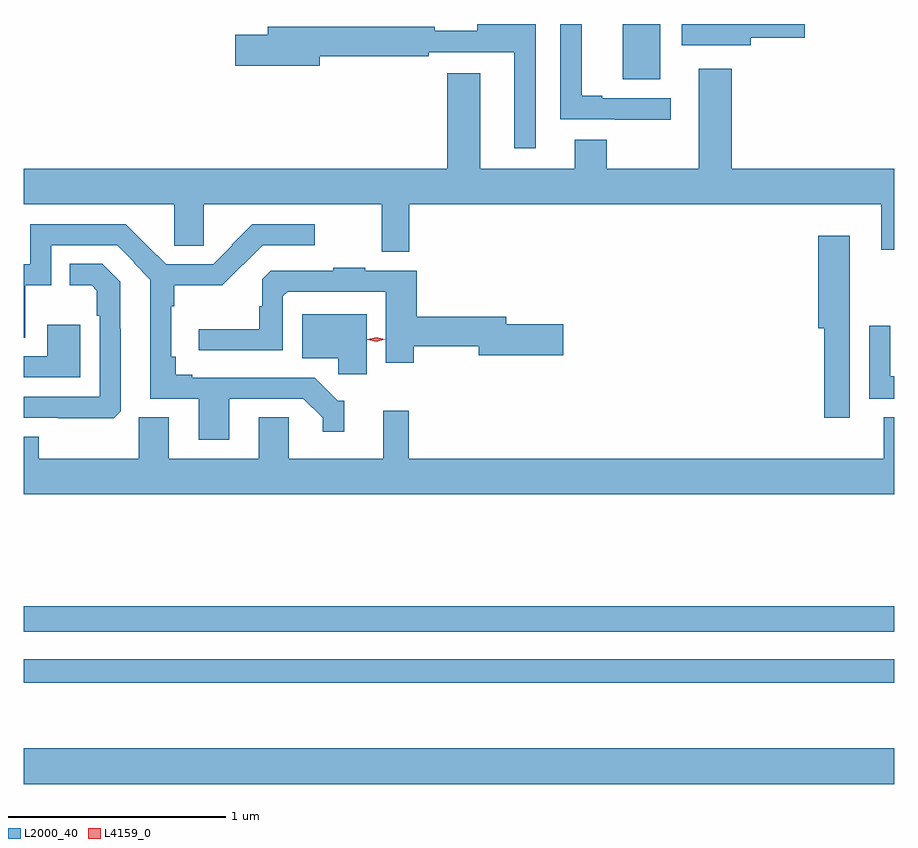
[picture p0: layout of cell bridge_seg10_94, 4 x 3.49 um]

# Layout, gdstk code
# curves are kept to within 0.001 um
import gdstk
lib = gdstk.Library(unit=1e-6, precision=1e-09)
def R(c, l, rs):  # rectangles x0, y0, x1, y1
    for r in rs: c.add(gdstk.rectangle(r[:2], r[2:], *l))
def P(c, l, *ps):  # polygons
    for p in ps: c.add(gdstk.Polygon(p, *l))
L2000_40 = (2000, 40)
L4159_0 = (4159, 0)

bridge_seg10_94 = lib.new_cell('bridge_seg10_94')
R(bridge_seg10_94, L2000_40, [(528.888,1279.004,532.888,1279.168), (528.888,1279.47,532.888,1279.578), (528.888,1279.704,532.888,1279.82), (531.641,1282.244,531.814,1282.497)])
P(bridge_seg10_94, L2000_40, [(532.228,1282.433),(532.477,1282.433),(532.477,1282.497),(531.911,1282.497),(531.911,1282.4),(532.228,1282.4)],
  [(531.24,1282.497),(530.972,1282.497),(530.972,1282.467),(530.776,1282.467),(530.776,1282.484),(530.009,1282.484),(530.009,1282.448),(529.86,1282.448),(529.86,1282.306),(530.248,1282.306),(530.248,1282.348),(530.75,1282.348),(530.75,1282.368),(531.143,1282.368),(531.143,1281.927),(531.24,1281.927)],
  [(531.862,1282.155),(531.547,1282.155),(531.547,1282.168),(531.452,1282.168),(531.452,1282.497),(531.354,1282.497),(531.354,1282.059),(531.603,1282.059),(531.603,1282.057),(531.862,1282.057)],
  [(530.66,1281.668),(532.829,1281.668),(532.829,1281.46),(532.888,1281.46),(532.888,1281.832),(532.142,1281.832),(532.142,1282.291),(531.989,1282.291),(531.989,1281.832),(531.567,1281.832),(531.567,1281.964),(531.419,1281.964),(531.419,1281.832),(530.986,1281.832),(530.986,1282.27),(530.834,1282.27),(530.834,1281.832),(528.888,1281.832),(528.888,1281.668),(529.579,1281.668),(529.579,1281.478),(529.716,1281.478),(529.716,1281.668),(530.532,1281.668),(530.532,1281.45),(530.66,1281.45)],
  [(529.831,1280.775),(530.173,1280.775),(530.261,1280.687),(530.261,1280.622),(530.36,1280.622),(530.36,1280.766),(530.331,1280.766),(530.226,1280.871),(529.663,1280.871),(529.663,1280.884),(529.586,1280.884),(529.586,1280.968),(529.566,1280.968),(529.566,1281.2),(529.579,1281.2),(529.579,1281.296),(529.801,1281.296),(529.986,1281.48),(530.224,1281.48),(530.224,1281.576),(529.937,1281.576),(529.843,1281.482),(529.845,1281.48),(529.758,1281.393),(529.542,1281.393),(529.357,1281.576),(528.918,1281.576),(528.918,1281.393),(528.888,1281.393),(528.888,1281.055),(528.895,1281.055),(528.895,1281.296),(529.014,1281.296),(529.014,1281.48),(529.317,1281.48),(529.395,1281.402),(529.393,1281.399),(529.469,1281.322),(529.469,1280.775),(529.691,1280.775),(529.691,1280.586),(529.831,1280.586)],
  [(532.683,1281.202),(532.684,1281.202),(532.684,1281.523),(532.538,1281.523),(532.538,1281.098),(532.567,1281.098),(532.567,1280.688),(532.683,1280.688)],
  [(529.334,1280.717),(529.334,1281.097),(529.332,1281.097),(529.332,1281.312),(529.249,1281.395),(529.099,1281.395),(529.099,1281.296),(529.199,1281.296),(529.224,1281.27),(529.224,1281.155),(529.236,1281.155),(529.236,1280.784),(528.888,1280.784),(528.888,1280.688),(529.045,1280.688),(529.045,1280.684),(529.301,1280.684)],
  [(530.68,1281.016),(530.978,1281.016),(530.978,1280.974),(531.367,1280.974),(531.367,1281.116),(531.106,1281.116),(531.106,1281.152),(530.693,1281.152),(530.693,1281.363),(530.456,1281.363),(530.456,1281.376),(530.311,1281.376),(530.311,1281.363),(530.022,1281.363),(529.983,1281.324),(529.983,1281.2),(529.971,1281.2),(529.971,1281.095),(529.692,1281.095),(529.692,1280.997),(530.079,1280.997),(530.079,1281.246),(530.1,1281.267),(530.552,1281.267),(530.552,1280.94),(530.68,1280.94)],
  [(530.464,1281.163),(530.168,1281.163),(530.168,1280.96),(530.332,1280.96),(530.332,1280.888),(530.464,1280.888)],
  [(529.147,1281.115),(528.995,1281.115),(528.995,1280.97),(528.888,1280.97),(528.888,1280.874),(529.147,1280.874)],
  [(532.888,1280.878),(532.869,1280.878),(532.869,1281.109),(532.773,1281.109),(532.773,1280.774),(532.888,1280.774)],
  [(532.888,1280.689),(532.841,1280.689),(532.841,1280.5),(530.657,1280.5),(530.657,1280.719),(530.54,1280.719),(530.54,1280.5),(530.106,1280.5),(530.106,1280.69),(529.967,1280.69),(529.967,1280.5),(529.555,1280.5),(529.555,1280.69),(529.415,1280.69),(529.415,1280.5),(528.957,1280.5),(528.957,1280.599),(528.888,1280.599),(528.888,1280.336),(532.888,1280.336)])
P(bridge_seg10_94, L4159_0, [(530.508,1281.037),(530.468,1281.046),(530.467,1281.047),(530.468,1281.047),(530.508,1281.057),(530.548,1281.047),(530.548,1281.047),(530.548,1281.047)])

lib.write_gds('bridge_seg10_94.gds')
